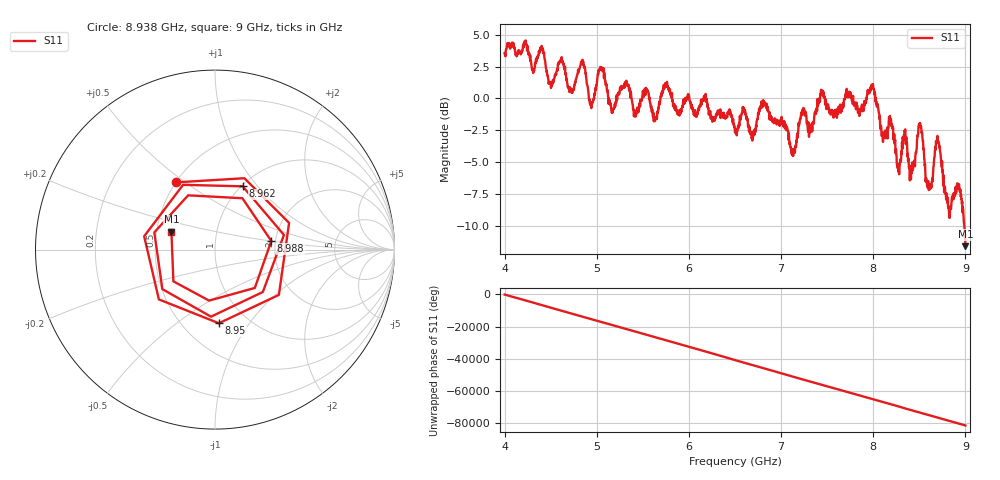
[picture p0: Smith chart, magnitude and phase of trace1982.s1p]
! Created with skrf 1.8.0 (http://scikit-rf.org).
# Hz S RI R 50.0
!freq ReS11 ImS11
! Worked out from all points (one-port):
!   1601 points, 4 GHz to 9 GHz, reference 50 ohm
!   lowest |S11| = -11.6 dB at 9 GHz (marker M1), VSWR 1.71, Z = 30 + j6.4 ohm
!   |S11| at or under -10 dB: 8.988335 GHz to end of sweep
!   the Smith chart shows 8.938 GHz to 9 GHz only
!   S11 on the Smith chart (normalised r, x): 8.938 GHz: 0.50, +0.46; 8.95 GHz: 0.74, -0.73; 8.962 GHz: 1.01, +0.84; 8.988 GHz: 1.90, +0.20; 9 GHz: 0.60, +0.13
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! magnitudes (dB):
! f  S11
! 4 GHz  3.6
! 4.403 GHz  4.1
! 4.503 GHz  0.8
! 4.625 GHz  2.9
! 4.728 GHz  0.4
! 4.85 GHz  2.8
! 4.941 GHz  -0.8
! 5.044 GHz  2.4
! 5.162 GHz  -1.1
! 5.25 GHz  0.7
! 5.875 GHz  -1.2
! 6.5 GHz  -2.7
! 6.809 GHz  -0.4
! 7.125 GHz  -4.5
! 7.438 GHz  0.4
! 7.75 GHz  0.1
! 7.994 GHz  1.0
! 8.275 GHz  -5.4
! 8.375 GHz  -4.3
! 8.509 GHz  -1.9
! 8.594 GHz  -6.6
! 8.697 GHz  -2.9
! 8.816 GHz  -8.6
! 8.938 GHz  -7.3
! 8.95 GHz  -7.7
! 8.962 GHz  -8.3
! 8.988 GHz  -10.0
! 9 GHz  -11.6
